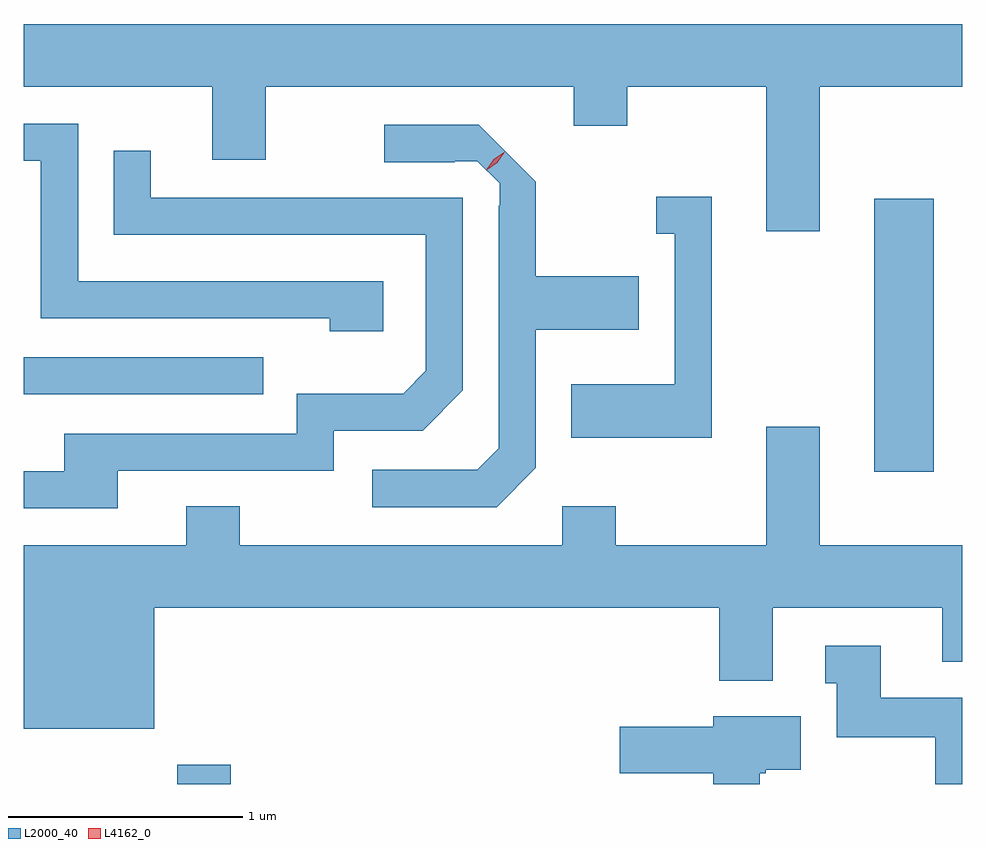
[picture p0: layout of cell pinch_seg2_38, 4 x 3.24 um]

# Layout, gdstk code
import gdstk
lib = gdstk.Library(unit=1e-6, precision=1e-09)
def R(c, l, rs):  # rectangles x0, y0, x1, y1
    for r in rs: c.add(gdstk.rectangle(r[:2], r[2:], *l))
def P(c, l, *ps):  # polygons
    for p in ps: c.add(gdstk.Polygon(p, *l))
L2000_40 = (2000, 40)
L4162_0 = (4162, 0)

pinch_seg2_38 = lib.new_cell('pinch_seg2_38')
R(pinch_seg2_38, L2000_40, [(1103.601,1111.946,1103.829,1112.029), (1106.571,1113.276,1106.824,1114.439), (1102.947,1113.606,1103.968,1113.764)])
P(pinch_seg2_38, L2000_40, [(1106.339,1114.916),(1106.947,1114.916),(1106.947,1115.184),(1102.947,1115.184),(1102.947,1114.916),(1103.751,1114.916),(1103.751,1114.606),(1103.979,1114.606),(1103.979,1114.916),(1105.291,1114.916),(1105.291,1114.751),(1105.519,1114.751),(1105.519,1114.916),(1106.111,1114.916),(1106.111,1114.301),(1106.339,1114.301)],
  [(1104.479,1114.089),(1103.179,1114.089),(1103.179,1114.759),(1102.947,1114.759),(1102.947,1114.601),(1103.021,1114.601),(1103.021,1113.931),(1104.251,1113.931),(1104.251,1113.876),(1104.479,1113.876)],
  [(1105.129,1113.294),(1105.129,1113.881),(1105.569,1113.881),(1105.569,1114.109),(1105.129,1114.109),(1105.129,1114.511),(1104.886,1114.754),(1104.483,1114.754),(1104.483,1114.596),(1104.785,1114.596),(1104.785,1114.6),(1104.88,1114.6),(1104.975,1114.505),(1104.975,1114.41),(1104.971,1114.41),(1104.971,1113.377),(1104.879,1113.284),(1104.433,1113.284),(1104.433,1113.126),(1104.962,1113.126)],
  [(1103.349,1113.281),(1104.269,1113.281),(1104.269,1113.451),(1104.647,1113.451),(1104.819,1113.624),(1104.819,1114.444),(1103.489,1114.444),(1103.489,1114.643),(1103.331,1114.643),(1103.331,1114.286),(1104.661,1114.286),(1104.661,1113.707),(1104.564,1113.609),(1104.111,1113.609),(1104.111,1113.439),(1103.121,1113.439),(1103.121,1113.279),(1102.947,1113.279),(1102.947,1113.121),(1103.349,1113.121)],
  [(1105.879,1114.449),(1105.643,1114.449),(1105.643,1114.291),(1105.721,1114.291),(1105.721,1113.649),(1105.281,1113.649),(1105.281,1113.421),(1105.879,1113.421)],
  [(1103.504,1112.696),(1105.911,1112.696),(1105.911,1112.386),(1106.139,1112.386),(1106.139,1112.696),(1106.861,1112.696),(1106.861,1112.466),(1106.947,1112.466),(1106.947,1112.964),(1106.339,1112.964),(1106.339,1113.469),(1106.111,1113.469),(1106.111,1112.964),(1105.469,1112.964),(1105.469,1113.129),(1105.241,1113.129),(1105.241,1112.964),(1103.869,1112.964),(1103.869,1113.129),(1103.641,1113.129),(1103.641,1112.964),(1102.947,1112.964),(1102.947,1112.181),(1103.504,1112.181)],
  [(1106.947,1112.314),(1106.599,1112.314),(1106.599,1112.534),(1106.363,1112.534),(1106.363,1112.376),(1106.411,1112.376),(1106.411,1112.146),(1106.831,1112.146),(1106.831,1111.946),(1106.947,1111.946)],
  [(1106.084,1111.991),(1106.11,1111.991),(1106.11,1112.006),(1106.259,1112.006),(1106.259,1112.234),(1105.886,1112.234),(1105.886,1112.189),(1105.486,1112.189),(1105.486,1111.991),(1105.886,1111.991),(1105.886,1111.946),(1106.084,1111.946)])
P(pinch_seg2_38, L4162_0, [(1104.918,1114.56),(1104.918,1114.561),(1104.95,1114.607),(1104.996,1114.639),(1104.996,1114.639),(1104.996,1114.639),(1104.964,1114.593),(1104.919,1114.56)],
  [(1104.921,1114.564),(1104.921,1114.565),(1104.95,1114.607),(1104.993,1114.636),(1104.994,1114.636),(1104.994,1114.636),(1104.965,1114.593),(1104.922,1114.564)])

lib.write_gds('pinch_seg2_38.gds')
